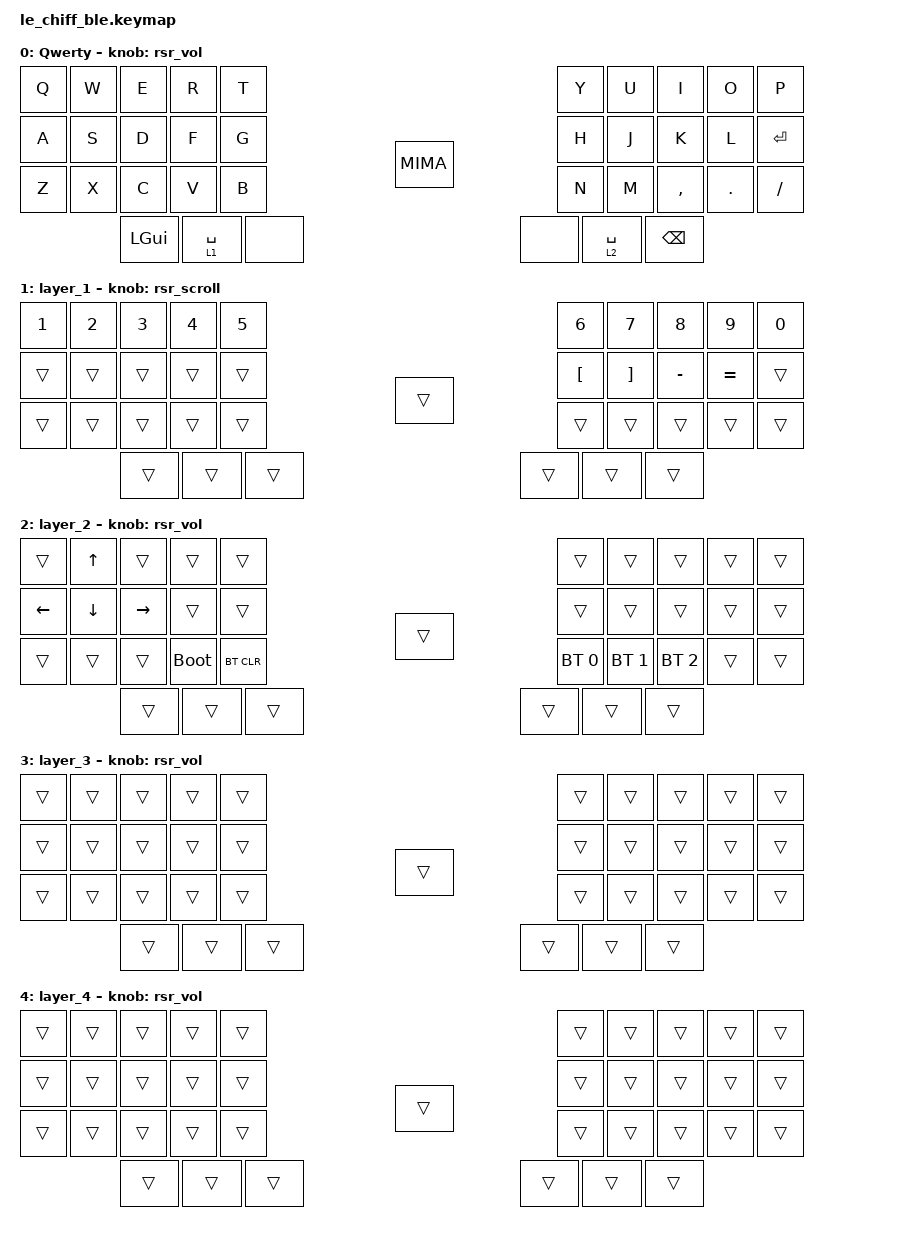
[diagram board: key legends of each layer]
/*
 * Copyright (c) 2021 @MangoIV
 *
 * SPDX-License-Identifier: MIT
 */

#define ZMK_MOUSE_DEFAULT_SCRL_VAL 25 // 10

#include <behaviors/mouse_keys.dtsi>
#include <dt-bindings/zmk/mouse.h>
#include <input/processors.dtsi>
#include <zephyr/dt-bindings/input/input-event-codes.h>
#include <behaviors.dtsi>
#include <behaviors/runtime-sensor-rotate.dtsi>
#include <dt-bindings/zmk/bt.h>
#include <dt-bindings/zmk/keys.h>
#include <dt-bindings/zmk/pointing.h>

&msc {
    acceleration-exponent = <0>;      // 0
    time-to-max-speed-ms = <0>;       // 300
    delay-ms = <0>;                   // 0
};

&mmv {
    time-to-max-speed-ms = <400>;
    acceleration-exponent = <1>;
};

/ {
    combos {
        compatible = "zmk,combos";

        CAP {
            bindings = <&kp CAPS>;
            key-positions = <10 11>;
            timeout-ms = <120>;
        };

        CTR {
            bindings = <&kp LCTRL>;
            key-positions = <11 12>;
            timeout-ms = <120>;
        };

        ALT {
            bindings = <&kp LALT>;
            key-positions = <12 13>;
            timeout-ms = <120>;
        };

        SHIFT1 {
            bindings = <&kp LSHFT>;
            key-positions = <20 21>;
            timeout-ms = <120>;
        };

        SHIFT2 {
            bindings = <&kp RSHFT>;
            key-positions = <29 28>;
            timeout-ms = <120>;
        };

        EESC {
            bindings = <&kp ESC>;
            key-positions = <0 1>;
            timeout-ms = <120>;
        };

        DELE {
            bindings = <&kp DEL>;
            key-positions = <8 9>;
            timeout-ms = <120>;
        };
    };

    macros {
        MIMA: MIMA {
            compatible = "zmk,behavior-macro";
            #binding-cells = <0>;
            bindings = <&kp N1 &kp N5 &kp N0 &kp N5 &kp N0 &kp N7>;
            label = "MIMA";
        };
    };

    behaviors {
        hm: homerow_mods {
            compatible = "zmk,behavior-hold-tap";
            label = "HOMEROW_MODS";
            bindings = <&kp>, <&kp>;

            #binding-cells = <2>;
            tapping-term-ms = <200>;
            flavor = "tap-preferred";
        };

        /*
         * Runtime sensor rotate 实例（DYA Studio 可在线改写 cw/ccw）。
         * cw/ccw-binding 仅作为 runtime 未配置时的 fallback 默认值。
         */
        rsr_vol: rsr_vol {
            compatible = "zmk,behavior-runtime-sensor-rotate";
            #sensor-binding-cells = <0>;
            tap-ms = <64>;
            cw-binding = <&kp C_VOL_UP>;
            ccw-binding = <&kp C_VOL_DN>;
        };

        rsr_scroll: rsr_scroll {
            compatible = "zmk,behavior-runtime-sensor-rotate";
            #sensor-binding-cells = <0>;
            tap-ms = <64>;
            cw-binding = <&msc SCRL_UP>;
            ccw-binding = <&msc SCRL_DOWN>;
        };
    };

    keymap {
        compatible = "zmk,keymap";

        Qwery {
            label = "Qwerty";
            bindings = <
&kp Q  &kp W  &kp E     &kp R        &kp T  &kp Y  &kp U        &kp I          &kp O    &kp P
&kp A  &kp S  &kp D     &kp F        &kp G  &kp H  &kp J        &kp K          &kp L    &kp ENTER
&kp Z  &kp X  &kp C     &kp V        &kp B  &kp N  &kp M        &kp COMMA      &kp DOT  &kp FSLH
              &kp LGUI  &lt 1 SPACE  &none  &none  &lt 2 SPACE  &kp BACKSPACE  &MIMA
            >;

            sensor-bindings = <&rsr_vol>;
        };

        layer_1 {
            bindings = <
&kp N1  &kp N2  &kp N3  &kp N4  &kp N5  &kp N6    &kp N7    &kp N8     &kp N9     &kp N0
&trans  &trans  &trans  &trans  &trans  &kp LBKT  &kp RBKT  &kp MINUS  &kp EQUAL  &trans
&trans  &trans  &trans  &trans  &trans  &trans    &trans    &trans     &trans     &trans
                &trans  &trans  &trans  &trans    &trans    &trans     &trans
            >;

            sensor-bindings = <&rsr_scroll>;
        };

        layer_2 {
            bindings = <
&trans    &kp UP    &trans     &trans       &trans      &trans        &trans        &trans        &trans  &trans
&kp LEFT  &kp DOWN  &kp RIGHT  &trans       &trans      &trans        &trans        &trans        &trans  &trans
&trans    &trans    &trans     &bootloader  &bt BT_CLR  &bt BT_SEL 0  &bt BT_SEL 1  &bt BT_SEL 2  &trans  &trans
                    &trans     &trans       &trans      &trans        &trans        &trans        &trans
            >;

            sensor-bindings = <&rsr_vol>;
        };

        layer_3 {
            bindings = <
&trans  &trans  &trans  &trans  &trans  &trans  &trans  &trans  &trans  &trans
&trans  &trans  &trans  &trans  &trans  &trans  &trans  &trans  &trans  &trans
&trans  &trans  &trans  &trans  &trans  &trans  &trans  &trans  &trans  &trans
                &trans  &trans  &trans  &trans  &trans  &trans  &trans
            >;

            sensor-bindings = <&rsr_vol>;
        };

        layer_4 {
            bindings = <
&trans  &trans  &trans  &trans  &trans  &trans  &trans  &trans  &trans  &trans
&trans  &trans  &trans  &trans  &trans  &trans  &trans  &trans  &trans  &trans
&trans  &trans  &trans  &trans  &trans  &trans  &trans  &trans  &trans  &trans
                &trans  &trans  &trans  &trans  &trans  &trans  &trans
            >;

            sensor-bindings = <&rsr_vol>;
        };
    };
};
